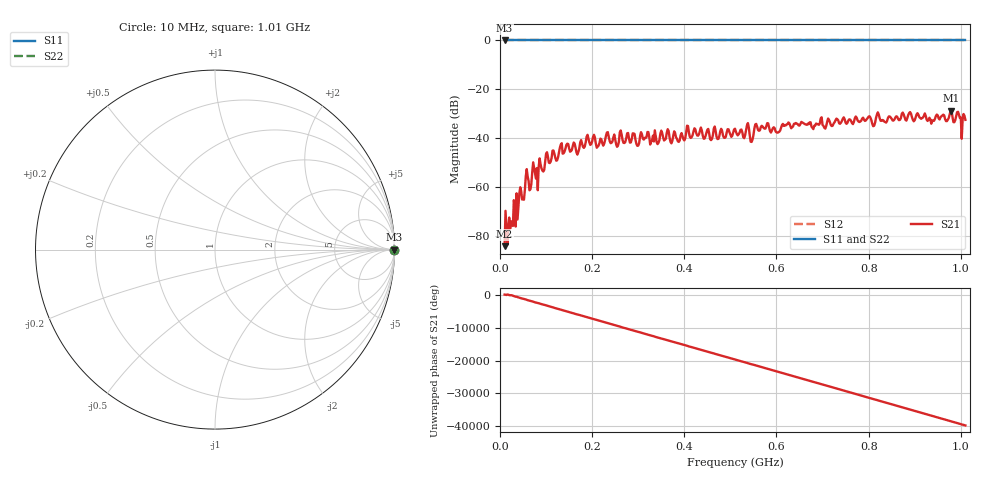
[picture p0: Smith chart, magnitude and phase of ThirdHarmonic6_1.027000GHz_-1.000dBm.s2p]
! 8/16/2025 8:42:56 AM
! C:\ANRITSUVNA\TEMP\TEMP.S2P
! CHANNEL.1
! TR.MEASUREMENT
! RAW.DATA
! RF.CORRECTION.OFF
! AVERAGING.OFF
! IF.BANDWIDTH: 5KHZ
! SWEEPTYPE:  FREQ.SWEEP(Linear)
! Reference Plane Port Info
! PORT:  PORT1  PORT2
! DISTANCE:  0  m  0  m
! TIME:  0  s  0  s
! PHASE.OFFSET:  0  deg.  0  deg.
! LOSS:  0  dB  0  dB
! REF.LOSS:  0  dB  0  dB
! REF.FREQ:  0  Hz  0  Hz
! Power Info
! POWER:  -20  dBm  -20  dBm
! EFF.POWER:  -20  dBm  -20  dBm
! SOURCE.ATTEN:  0  dB  0  dB
! TEST.ATTEN:  0  dB  0  dB
# GHZ S RI R 50.0
! FREQ.GHZ  S11RE  S11IM  S21RE  S21IM  S12RE  S12IM  S22RE  S22IM
!; PortSelection: Port_12
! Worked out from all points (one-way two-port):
!   501 points, 10 MHz to 1.01 GHz, reference 50 ohm
!   highest |S21| = -28.66 dB at 978 MHz (marker M1); lowest = -84.1 dB at 10 MHz (marker M2)
!   lowest |S11| = 0.0 dB at 10 MHz (marker M3)
!   |S11| at or under -10 dB: nowhere
!   |S22| runs from 0.0 to 0.0 dB; largest |S21 - S12| = 1
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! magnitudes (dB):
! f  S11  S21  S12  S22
! 10 MHz  0.0  -84.1  0.0  0.0
! 24 MHz  0.0  -74.0  0.0  0.0
! 44 MHz  0.0  -60.0  0.0  0.0
! 50 MHz  0.0  -64.8  0.0  0.0
! 58 MHz  0.0  -52.6  0.0  0.0
! 64 MHz  0.0  -61.3  0.0  0.0
! 74 MHz  0.0  -52.1  0.0  0.0
! 80 MHz  0.0  -52.2  0.0  0.0
! 132 MHz  0.0  -42.5  0.0  0.0
! 178 MHz  0.0  -42.1  0.0  0.0
! 232 MHz  0.0  -37.7  0.0  0.0
! 254 MHz  0.0  -43.5  0.0  0.0
! 262 MHz  0.0  -36.8  0.0  0.0
! 344 MHz  0.0  -41.8  0.0  0.0
! 510 MHz  0.0  -36.1  0.0  0.0
! 538 MHz  0.0  -33.8  0.0  0.0
! 546 MHz  0.0  -41.5  0.0  0.0
! 556 MHz  0.0  -34.1  0.0  0.0
! 678 MHz  0.0  -35.7  0.0  0.0
! 844 MHz  0.0  -31.1  0.0  0.0
! 978 MHz  0.0  -28.7  0.0  0.0
! 1.01 GHz  0.0  -32.5  0.0  0.0
